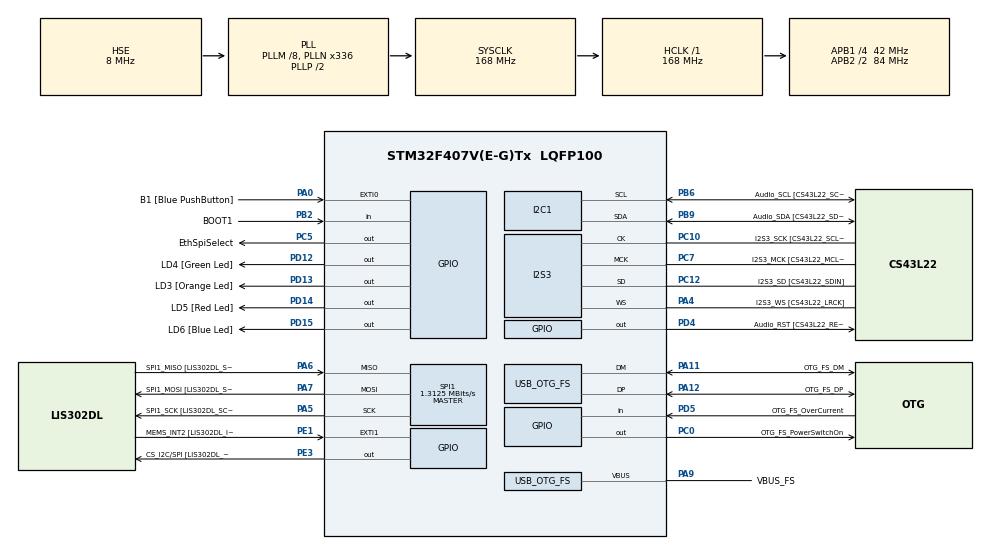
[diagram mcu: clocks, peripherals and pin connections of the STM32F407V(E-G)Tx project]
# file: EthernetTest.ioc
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I2S3.AudioFreq-Half_Duplex_Master=I2S_AUDIOFREQ_96K
I2S3.ErrorAudioFreq=-2.34 %
I2S3.ErrorAudioFreq-Half_Duplex_Master=0.8 %
I2S3.FullDuplexMode=I2S_FULLDUPLEXMODE_DISABLE
I2S3.Instance=SPI$Index
I2S3.RealAudioFreq=93.75 KHz
I2S3.RealAudioFreq-Half_Duplex_Master=96.774 KHz
I2S3.VirtualMode=I2S_MODE_MASTER
Mcu.Family=STM32F4
Mcu.Name=STM32F407V(E-G)Tx
Mcu.Package=LQFP100
NVIC.OTG_FS_IRQn=true\:0\:0\:false\:false\:true\:true\:true\:true
NVIC.PriorityGroup=NVIC_PRIORITYGROUP_0
PA0-WKUP.GPIO_Label=B1 [Blue PushButton]
PA0-WKUP.GPIO_ModeDefaultEXTI=GPIO_MODE_EVT_RISING
PA0-WKUP.GPIO_PuPd=GPIO_NOPULL
PA0-WKUP.Signal=GPXTI0
PA10.GPIO_Label=OTG_FS_ID
PA10.GPIO_Mode=GPIO_MODE_AF_PP
PA10.GPIO_PuPd=GPIO_NOPULL
PA10.GPIO_Speed=GPIO_SPEED_FREQ_LOW
PA10.Signal=USB_OTG_FS_ID
PA11.GPIO_Label=OTG_FS_DM
PA11.GPIO_Mode=GPIO_MODE_AF_PP
PA11.GPIO_PuPd=GPIO_NOPULL
PA11.GPIO_Speed=GPIO_SPEED_FREQ_LOW
PA11.Mode=Host_Only
PA11.Signal=USB_OTG_FS_DM
PA12.GPIO_Label=OTG_FS_DP
PA12.GPIO_Mode=GPIO_MODE_AF_PP
PA12.GPIO_PuPd=GPIO_NOPULL
PA12.GPIO_Speed=GPIO_SPEED_FREQ_LOW
PA12.Mode=Host_Only
PA12.Signal=USB_OTG_FS_DP
PA13.GPIO_Label=SWDIO
PA13.Mode=Serial_Wire
PA13.Signal=SYS_JTMS-SWDIO
PA14.GPIO_Label=SWCLK
PA14.Mode=Serial_Wire
PA14.Signal=SYS_JTCK-SWCLK
PA4.GPIO_Label=I2S3_WS [CS43L22_LRCK]
PA4.GPIO_Mode=GPIO_MODE_AF_PP
PA4.GPIO_PuPd=GPIO_NOPULL
PA4.GPIO_Speed=GPIO_SPEED_FREQ_LOW
PA4.Mode=Half_Duplex_Master
PA4.Signal=I2S3_WS
PA5.GPIO_Label=SPI1_SCK [LIS302DL_SCL/SPC]
PA5.GPIO_Mode=GPIO_MODE_AF_PP
PA5.GPIO_PuPd=GPIO_NOPULL
PA5.GPIO_Speed=GPIO_SPEED_FREQ_LOW
PA5.Mode=Full_Duplex_Master
PA5.Signal=SPI1_SCK
PA6.GPIO_Label=SPI1_MISO [LIS302DL_SDO]
PA6.GPIO_Mode=GPIO_MODE_AF_PP
PA6.GPIO_PuPd=GPIO_NOPULL
PA6.GPIO_Speed=GPIO_SPEED_FREQ_LOW
PA6.Mode=Full_Duplex_Master
PA6.Signal=SPI1_MISO
PA7.GPIO_Label=SPI1_MOSI [LIS302DL_SDA/SDI/SDO]
PA7.GPIO_Mode=GPIO_MODE_AF_PP
PA7.GPIO_PuPd=GPIO_NOPULL
PA7.GPIO_Speed=GPIO_SPEED_FREQ_LOW
PA7.Mode=Full_Duplex_Master
PA7.Signal=SPI1_MOSI
PA9.GPIO_Label=VBUS_FS
PA9.GPIO_Mode=GPIO_MODE_INPUT
PA9.GPIO_PuPd=GPIO_NOPULL
PA9.Mode=Activate_VBUS
PA9.Signal=USB_OTG_FS_VBUS
PB10.GPIO_Label=CLK_IN [MP45DT02_CLK]
PB10.GPIO_Mode=GPIO_MODE_AF_PP
PB10.GPIO_PuPd=GPIO_NOPULL
PB10.GPIO_Speed=GPIO_SPEED_FREQ_LOW
PB10.Signal=I2S2_CK
PB2.GPIO_Label=BOOT1
PB2.GPIO_Mode=GPIO_MODE_INPUT
PB2.GPIO_PuPd=GPIO_NOPULL
PB2.Signal=GPIO_Input
PB3.GPIO_Label=SWO
PB3.Signal=SYS_JTDO-SWO
PB6.GPIO_Label=Audio_SCL [CS43L22_SCL]
PB6.GPIO_Mode=GPIO_MODE_AF_OD
PB6.GPIO_Pu=GPIO_PULLUP
PB6.GPIO_PuPd=GPIO_NOPULL
PB6.GPIO_Speed=GPIO_SPEED_FREQ_LOW
PB6.Mode=I2C
PB6.Signal=I2C1_SCL
PB9.GPIO_Label=Audio_SDA [CS43L22_SDA]
PB9.GPIO_Mode=GPIO_MODE_AF_OD
PB9.GPIO_Pu=GPIO_PULLUP
PB9.GPIO_PuPd=GPIO_NOPULL
PB9.GPIO_Speed=GPIO_SPEED_FREQ_LOW
PB9.Mode=I2C
PB9.Signal=I2C1_SDA
PC0.GPIO_Label=OTG_FS_PowerSwitchOn
PC0.GPIO_PuPd=GPIO_NOPULL
PC0.GPIO_Speed=GPIO_SPEED_FREQ_LOW
PC0.PinState=GPIO_PIN_SET
PC0.Signal=GPIO_Output
PC10.GPIO_Label=I2S3_SCK [CS43L22_SCLK]
PC10.GPIO_Mode=GPIO_MODE_AF_PP
PC10.GPIO_PuPd=GPIO_NOPULL
PC10.GPIO_Speed=GPIO_SPEED_FREQ_LOW
PC10.Mode=Half_Duplex_Master
PC10.Signal=I2S3_CK
PC12.GPIO_Label=I2S3_SD [CS43L22_SDIN]
PC12.GPIO_Mode=GPIO_MODE_AF_PP
PC12.GPIO_PuPd=GPIO_NOPULL
PC12.GPIO_Speed=GPIO_SPEED_FREQ_LOW
PC12.Mode=Half_Duplex_Master
PC12.Signal=I2S3_SD
PC14-OSC32_IN.GPIO_Label=PC14-OSC32_IN
PC14-OSC32_IN.Mode=LSE-External-Oscillator
PC14-OSC32_IN.Signal=RCC_OSC32_IN
PC15-OSC32_OUT.GPIO_Label=PC15-OSC32_OUT
PC15-OSC32_OUT.Mode=LSE-External-Oscillator
PC15-OSC32_OUT.Signal=RCC_OSC32_OUT
PC3.GPIO_Label=PDM_OUT [MP45DT02_DOUT]
PC3.GPIO_Mode=GPIO_MODE_AF_PP
PC3.GPIO_PuPd=GPIO_NOPULL
PC3.GPIO_Speed=GPIO_SPEED_FREQ_LOW
PC3.Signal=I2S2_SD
PC5.GPIO_Label=EthSpiSelect
PC5.GPIO_PuPd=GPIO_PULLUP
PC5.GPIO_Speed=GPIO_SPEED_FREQ_MEDIUM
PC5.Signal=GPIO_Output
PC7.GPIO_Label=I2S3_MCK [CS43L22_MCLK]
PC7.GPIO_Mode=GPIO_MODE_AF_PP
PC7.GPIO_PuPd=GPIO_NOPULL
PC7.GPIO_Speed=GPIO_SPEED_FREQ_LOW
PC7.Mode=Master_Clock_Activated
PC7.Signal=I2S3_MCK
PD12.GPIO_Label=LD4 [Green Led]
PD12.GPIO_PuPd=GPIO_NOPULL
PD12.GPIO_Speed=GPIO_SPEED_FREQ_LOW
PD12.Signal=GPIO_Output
PD13.GPIO_Label=LD3 [Orange Led]
PD13.GPIO_PuPd=GPIO_NOPULL
PD13.GPIO_Speed=GPIO_SPEED_FREQ_LOW
PD13.Signal=GPIO_Output
PD14.GPIO_Label=LD5 [Red Led]
PD14.GPIO_PuPd=GPIO_NOPULL
PD14.GPIO_Speed=GPIO_SPEED_FREQ_LOW
PD14.Signal=GPIO_Output
PD15.GPIO_Label=LD6 [Blue Led]
PD15.GPIO_PuPd=GPIO_NOPULL
PD15.GPIO_Speed=GPIO_SPEED_FREQ_LOW
PD15.Signal=GPIO_Output
PD4.GPIO_Label=Audio_RST [CS43L22_RESET]
PD4.GPIO_PuPd=GPIO_NOPULL
PD4.GPIO_Speed=GPIO_SPEED_FREQ_LOW
PD4.Signal=GPIO_Output
PD5.GPIO_Label=OTG_FS_OverCurrent
PD5.GPIO_Mode=GPIO_MODE_INPUT
PD5.GPIO_PuPd=GPIO_NOPULL
PD5.Signal=GPIO_Input
PE1.GPIO_Label=MEMS_INT2 [LIS302DL_INT2]
PE1.GPIO_ModeDefaultEXTI=GPIO_MODE_EVT_RISING
PE1.GPIO_PuPd=GPIO_NOPULL
PE1.Signal=GPXTI1
PE3.GPIO_Label=CS_I2C/SPI [LIS302DL_CS_I2C/SPI]
PE3.GPIO_PuPd=GPIO_NOPULL
PE3.GPIO_Speed=GPIO_SPEED_FREQ_LOW
PE3.Signal=GPIO_Output
PH0-OSC_IN.GPIO_Label=PH0-OSC_IN
PH0-OSC_IN.Mode=HSE-External-Oscillator
PH0-OSC_IN.Signal=RCC_OSC_IN
PH1-OSC_OUT.GPIO_Label=PH1-OSC_OUT
PH1-OSC_OUT.Mode=HSE-External-Oscillator
PH1-OSC_OUT.Signal=RCC_OSC_OUT
ProjectManager.HeapSize=0x200
ProjectManager.StackSize=0x400
ProjectManager.TargetToolchain=STM32CubeIDE
RCC.48MHZClocksFreq_Value=48000000
RCC.AHBFreq_Value=168000000
RCC.APB1CLKDivider=RCC_HCLK_DIV4
RCC.APB1Freq_Value=42000000
RCC.APB1TimFreq_Value=84000000
RCC.APB2CLKDivider=RCC_HCLK_DIV2
RCC.APB2Freq_Value=84000000
RCC.APB2TimFreq_Value=168000000
RCC.CortexFreq_Value=168000000
RCC.HCLKFreq_Value=168000000
RCC.HSE_VALUE=8000000
RCC.HSI_VALUE=16000000
RCC.PLLM=8
RCC.PLLN=336
RCC.PLLQ=7
RCC.SYSCLKFreq_VALUE=168000000
RCC.SYSCLKSource=RCC_SYSCLKSOURCE_PLLCLK
RCC.VCOOutputFreq_Value=336000000
SPI1.BaudRatePrescaler=SPI_BAUDRATEPRESCALER_64
SPI1.BaudRatePrescaler-Full_Duplex_Master=SPI_BAUDRATEPRESCALER_2
SPI1.CalculateBaudRate=1.3125 MBits/s
SPI1.CalculateBaudRate-Full_Duplex_Master=42.0 MBits/s
SPI1.Direction=SPI_DIRECTION_2LINES
SPI1.Mode=SPI_MODE_MASTER
SPI1.Mode-Full_Duplex_Master=SPI_MODE_MASTER
SPI1.VirtualType=VM_MASTER
USB_HOST.BSP.number=1
USB_HOST.USBH_HandleTypeDef-CDC_FS=hUsbHostFS
USB_HOST.VirtualModeFS=Cdc
USB_HOST0.BSP.STBoard=false
USB_HOST0.BSP.api=Unknown
USB_HOST0.BSP.instance=PC0
USB_HOST0.BSP.ip=GPIO
USB_HOST0.BSP.mode=Output
USB_HOST0.BSP.name=Drive_VBUS_FS
USB_HOST0.BSP.solution=PC0
USB_OTG_FS.VirtualMode=Host_Only
USB_OTG_FS.phy_itface=HCD_PHY_EMBEDDED
VP_USB_HOST_VS_USB_HOST_CDC_FS.Mode=CDC_FS
board=STM32F407G-DISC1

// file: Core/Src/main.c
/* USER CODE BEGIN Header */
/**
  ******************************************************************************
  * @file           : main.c
  * @brief          : Main program body
  ******************************************************************************
  * @attention
  *
  * Copyright (c) 2023 STMicroelectronics.
  * All rights reserved.
  *
  * This software is licensed under terms that can be found in the LICENSE file
  * in the root directory of this software component.
  * If no LICENSE file comes with this software, it is provided AS-IS.
  *
  ******************************************************************************
  */
/* USER CODE END Header */
#include "main.h"
#include "usb_host.h"

/* USER CODE BEGIN Includes */

#include "wizchip_conf.h"
#include "loopback.h"
#include <stdio.h>

/* USER CODE END Includes */

I2C_HandleTypeDef hi2c1;

I2S_HandleTypeDef hi2s3;

SPI_HandleTypeDef hspi1;

void SystemClock_Config(void);
static void MX_GPIO_Init(void);
static void MX_I2C1_Init(void);
static void MX_I2S3_Init(void);
static void MX_SPI1_Init(void);
void MX_USB_HOST_Process(void);

/* USER CODE BEGIN 0 */

/////////////////////////////////////////
// SOCKET NUMBER DEFINION for Examples //
/////////////////////////////////////////
#define SOCK_TCPS        0
#define SOCK_UDPS        1

////////////////////////////////////////////////
// Shared Buffer Definition for LOOPBACK TEST //
////////////////////////////////////////////////
#define DATA_BUF_SIZE   2048
uint8_t gDATABUF[DATA_BUF_SIZE];

///////////////////////////
// Network Configuration //
///////////////////////////
wiz_NetInfo gWIZNETINFO = { .mac = {0x00, 0x08, 0xdc,0x00, 0xab, 0xcd},
                            .ip = {192, 168, 1, 123},
                            .sn = {255,255,255,0},
                            .gw = {192, 168, 1, 1},
                            .dns = {0,0,0,0},
                            .dhcp = NETINFO_STATIC };

//////////////////////////////////////////////////////////////////////////////////////////////
// Call back function for W5500 SPI - Theses used to parameter or reg_wizchip_xxx_cbfunc()  //
//////////////////////////////////////////////////////////////////////////////////////////////
void  wizchip_select(void);
void  wizchip_deselect(void);
void  wizchip_write(uint8_t wb);
uint8_t wizchip_read();

void network_init(void);

void network_init(void)
{
   uint8_t tmpstr[6];
	ctlnetwork(CN_SET_NETINFO, (void*)&gWIZNETINFO);
	ctlnetwork(CN_GET_NETINFO, (void*)&gWIZNETINFO);

	// Display Network Information
	ctlwizchip(CW_GET_ID,(void*)tmpstr);
	printf("\r\n=== %s NET CONF ===\r\n",(char*)tmpstr);
	printf("MAC: %02X:%02X:%02X:%02X:%02X:%02X\r\n",gWIZNETINFO.mac[0],gWIZNETINFO.mac[1],gWIZNETINFO.mac[2],
		  gWIZNETINFO.mac[3],gWIZNETINFO.mac[4],gWIZNETINFO.mac[5]);
	printf("SIP: %d.%d.%d.%d\r\n", gWIZNETINFO.ip[0],gWIZNETINFO.ip[1],gWIZNETINFO.ip[2],gWIZNETINFO.ip[3]);
	printf("GAR: %d.%d.%d.%d\r\n", gWIZNETINFO.gw[0],gWIZNETINFO.gw[1],gWIZNETINFO.gw[2],gWIZNETINFO.gw[3]);
	printf("SUB: %d.%d.%d.%d\r\n", gWIZNETINFO.sn[0],gWIZNETINFO.sn[1],gWIZNETINFO.sn[2],gWIZNETINFO.sn[3]);
	printf("DNS: %d.%d.%d.%d\r\n", gWIZNETINFO.dns[0],gWIZNETINFO.dns[1],gWIZNETINFO.dns[2],gWIZNETINFO.dns[3]);
	printf("======================\r\n");
}

void  wizchip_select(void)
{
	//USING PIN PC5 for select!
	HAL_GPIO_WritePin(EthSpiSelect_GPIO_Port, EthSpiSelect_Pin, GPIO_PIN_RESET);
}

void  wizchip_deselect(void)
{
	HAL_GPIO_WritePin(EthSpiSelect_GPIO_Port, EthSpiSelect_Pin, GPIO_PIN_SET);
}

void  wizchip_write(uint8_t wb)
{
	HAL_SPI_Transmit(&hspi1, &wb, 1, 100); //100 = timeout
}

uint8_t wizchip_read()
{
	uint8_t data = 0;
	HAL_SPI_Receive(&hspi1, &data, 1, 100);
	return data;
}

/* USER CODE END 0 */

int main(void)
{

  /* MCU Configuration--------------------------------------------------------*/

  /* Reset of all peripherals, Initializes the Flash interface and the Systick. */
  HAL_Init();

  /* Configure the system clock */
  SystemClock_Config();

  /* Initialize all configured peripherals */
  MX_GPIO_Init();
  MX_I2C1_Init();
  MX_I2S3_Init();
  MX_SPI1_Init();
  MX_USB_HOST_Init();
  /* USER CODE BEGIN 2 */

  uint8_t memsize[2][8] = { {2,2,2,2,2,2,2,2},{2,2,2,2,2,2,2,2}};
  uint8_t tmp;
  int32_t ret = 0;

  // CS pin should default high
  wizchip_deselect();

  /////////////////////////////////////////////
	 // Register SPI callback function of W5500 //
	 /////////////////////////////////////////////

	 /* Critical section callback - No use in this example */
	 //reg_wizchip_cris_cbfunc(0, 0);

	 /* Chip selection call back */
	#if   _WIZCHIP_IO_MODE_ == _WIZCHIP_IO_MODE_SPI_VDM_
	  reg_wizchip_cs_cbfunc(wizchip_select, wizchip_deselect);
	#elif _WIZCHIP_IO_MODE_ == _WIZCHIP_IO_MODE_SPI_FDM_
	  reg_wizchip_cs_cbfunc(wizchip_select, wizchip_select);  // CS must be tried with LOW.
	#else
	 #if (_WIZCHIP_IO_MODE_ & _WIZCHIP_IO_MODE_SIP_) != _WIZCHIP_IO_MODE_SIP_
		#error "Unknown _WIZCHIP_IO_MODE_"
	 #else
		reg_wizchip_cs_cbfunc(wizchip_select, wizchip_deselect);
	 #endif
	#endif
	  /* SPI Read & Write callback function */
	  reg_wizchip_spi_cbfunc(wizchip_read, wizchip_write);
	  /////////////////////////////////////////////

	  /* wizchip initialize*/
	  if(ctlwizchip(CW_INIT_WIZCHIP,(void*)memsize) == -1)
	  {
		 printf("WIZCHIP Initialized fail.\r\n");
		 while(1);
	  }

	  /* PHY link status check */
	  do
	  {
		 if(ctlwizchip(CW_GET_PHYLINK, (void*)&tmp) == -1)
			printf("Unknown PHY Link stauts.\r\n");
	  }while(tmp == PHY_LINK_OFF);

	  /* Network initialization */
	  network_init();

  /* USER CODE END 2 */

  /* Infinite loop */
  while (1)
  {
    MX_USB_HOST_Process();

    /* USER CODE BEGIN 3 */
    /* Loopback Test */
	// TCP server loopback test
	if( (ret = loopback_tcps(SOCK_TCPS, gDATABUF, 5000)) < 0) {
		printf("SOCKET ERROR : %ld\r\n", ret);
	}

	// UDP server loopback test
	if( (ret = loopback_udps(SOCK_UDPS, gDATABUF, 3000)) < 0) {
		printf("SOCKET ERROR : %ld\r\n", ret);
	}
  }
  /* USER CODE END 3 */
}

void SystemClock_Config(void)
{
  RCC_OscInitTypeDef RCC_OscInitStruct = {0};
  RCC_ClkInitTypeDef RCC_ClkInitStruct = {0};

  /** Configure the main internal regulator output voltage
  */
  __HAL_RCC_PWR_CLK_ENABLE();
  __HAL_PWR_VOLTAGESCALING_CONFIG(PWR_REGULATOR_VOLTAGE_SCALE1);

  /** Initializes the RCC Oscillators according to the specified parameters
  * in the RCC_OscInitTypeDef structure.
  */
  RCC_OscInitStruct.OscillatorType = RCC_OSCILLATORTYPE_HSE;
  RCC_OscInitStruct.HSEState = RCC_HSE_ON;
  RCC_OscInitStruct.PLL.PLLState = RCC_PLL_ON;
  RCC_OscInitStruct.PLL.PLLSource = RCC_PLLSOURCE_HSE;
  RCC_OscInitStruct.PLL.PLLM = 8;
  RCC_OscInitStruct.PLL.PLLN = 336;
  RCC_OscInitStruct.PLL.PLLP = RCC_PLLP_DIV2;
  RCC_OscInitStruct.PLL.PLLQ = 7;
  if (HAL_RCC_OscConfig(&RCC_OscInitStruct) != HAL_OK)
  {
    Error_Handler();
  }

  /** Initializes the CPU, AHB and APB buses clocks
  */
  RCC_ClkInitStruct.ClockType = RCC_CLOCKTYPE_HCLK|RCC_CLOCKTYPE_SYSCLK
                              |RCC_CLOCKTYPE_PCLK1|RCC_CLOCKTYPE_PCLK2;
  RCC_ClkInitStruct.SYSCLKSource = RCC_SYSCLKSOURCE_PLLCLK;
  RCC_ClkInitStruct.AHBCLKDivider = RCC_SYSCLK_DIV1;
  RCC_ClkInitStruct.APB1CLKDivider = RCC_HCLK_DIV4;
  RCC_ClkInitStruct.APB2CLKDivider = RCC_HCLK_DIV2;

  if (HAL_RCC_ClockConfig(&RCC_ClkInitStruct, FLASH_LATENCY_5) != HAL_OK)
  {
    Error_Handler();
  }
}

static void MX_I2C1_Init(void)
{

  hi2c1.Instance = I2C1;
  hi2c1.Init.ClockSpeed = 100000;
  hi2c1.Init.DutyCycle = I2C_DUTYCYCLE_2;
  hi2c1.Init.OwnAddress1 = 0;
  hi2c1.Init.AddressingMode = I2C_ADDRESSINGMODE_7BIT;
  hi2c1.Init.DualAddressMode = I2C_DUALADDRESS_DISABLE;
  hi2c1.Init.OwnAddress2 = 0;
  hi2c1.Init.GeneralCallMode = I2C_GENERALCALL_DISABLE;
  hi2c1.Init.NoStretchMode = I2C_NOSTRETCH_DISABLE;
  if (HAL_I2C_Init(&hi2c1) != HAL_OK)
  {
    Error_Handler();
  }

}

static void MX_I2S3_Init(void)
{

  hi2s3.Instance = SPI3;
  hi2s3.Init.Mode = I2S_MODE_MASTER_TX;
  hi2s3.Init.Standard = I2S_STANDARD_PHILIPS;
  hi2s3.Init.DataFormat = I2S_DATAFORMAT_16B;
  hi2s3.Init.MCLKOutput = I2S_MCLKOUTPUT_ENABLE;
  hi2s3.Init.AudioFreq = I2S_AUDIOFREQ_96K;
  hi2s3.Init.CPOL = I2S_CPOL_LOW;
  hi2s3.Init.ClockSource = I2S_CLOCK_PLL;
  hi2s3.Init.FullDuplexMode = I2S_FULLDUPLEXMODE_DISABLE;
  if (HAL_I2S_Init(&hi2s3) != HAL_OK)
  {
    Error_Handler();
  }

}

static void MX_SPI1_Init(void)
{

  /* SPI1 parameter configuration*/
  hspi1.Instance = SPI1;
  hspi1.Init.Mode = SPI_MODE_MASTER;
  hspi1.Init.Direction = SPI_DIRECTION_2LINES;
  hspi1.Init.DataSize = SPI_DATASIZE_8BIT;
  hspi1.Init.CLKPolarity = SPI_POLARITY_LOW;
  hspi1.Init.CLKPhase = SPI_PHASE_1EDGE;
  hspi1.Init.NSS = SPI_NSS_SOFT;
  hspi1.Init.BaudRatePrescaler = SPI_BAUDRATEPRESCALER_64;
  hspi1.Init.FirstBit = SPI_FIRSTBIT_MSB;
  hspi1.Init.TIMode = SPI_TIMODE_DISABLE;
  hspi1.Init.CRCCalculation = SPI_CRCCALCULATION_DISABLE;
  hspi1.Init.CRCPolynomial = 10;
  if (HAL_SPI_Init(&hspi1) != HAL_OK)
  {
    Error_Handler();
  }

}

static void MX_GPIO_Init(void)
{
  GPIO_InitTypeDef GPIO_InitStruct = {0};

  /* GPIO Ports Clock Enable */
  __HAL_RCC_GPIOE_CLK_ENABLE();
  __HAL_RCC_GPIOC_CLK_ENABLE();
  __HAL_RCC_GPIOH_CLK_ENABLE();
  __HAL_RCC_GPIOA_CLK_ENABLE();
  __HAL_RCC_GPIOB_CLK_ENABLE();
  __HAL_RCC_GPIOD_CLK_ENABLE();

  /*Configure GPIO pin Output Level */
  HAL_GPIO_WritePin(CS_I2C_SPI_GPIO_Port, CS_I2C_SPI_Pin, GPIO_PIN_RESET);

  /*Configure GPIO pin Output Level */
  HAL_GPIO_WritePin(OTG_FS_PowerSwitchOn_GPIO_Port, OTG_FS_PowerSwitchOn_Pin, GPIO_PIN_SET);

  /*Configure GPIO pin Output Level */
  HAL_GPIO_WritePin(EthSpiSelect_GPIO_Port, EthSpiSelect_Pin, GPIO_PIN_RESET);

  /*Configure GPIO pin Output Level */
  HAL_GPIO_WritePin(GPIOD, LD4_Pin|LD3_Pin|LD5_Pin|LD6_Pin
                          |Audio_RST_Pin, GPIO_PIN_RESET);

  /*Configure GPIO pin : CS_I2C_SPI_Pin */
  GPIO_InitStruct.Pin = CS_I2C_SPI_Pin;
  GPIO_InitStruct.Mode = GPIO_MODE_OUTPUT_PP;
  GPIO_InitStruct.Pull = GPIO_NOPULL;
  GPIO_InitStruct.Speed = GPIO_SPEED_FREQ_LOW;
  HAL_GPIO_Init(CS_I2C_SPI_GPIO_Port, &GPIO_InitStruct);

  /*Configure GPIO pin : OTG_FS_PowerSwitchOn_Pin */
  GPIO_InitStruct.Pin = OTG_FS_PowerSwitchOn_Pin;
  GPIO_InitStruct.Mode = GPIO_MODE_OUTPUT_PP;
  GPIO_InitStruct.Pull = GPIO_NOPULL;
  GPIO_InitStruct.Speed = GPIO_SPEED_FREQ_LOW;
  HAL_GPIO_Init(OTG_FS_PowerSwitchOn_GPIO_Port, &GPIO_InitStruct);

  /*Configure GPIO pin : PDM_OUT_Pin */
  GPIO_InitStruct.Pin = PDM_OUT_Pin;
  GPIO_InitStruct.Mode = GPIO_MODE_AF_PP;
  GPIO_InitStruct.Pull = GPIO_NOPULL;
  GPIO_InitStruct.Speed = GPIO_SPEED_FREQ_LOW;
  GPIO_InitStruct.Alternate = GPIO_AF5_SPI2;
  HAL_GPIO_Init(PDM_OUT_GPIO_Port, &GPIO_InitStruct);

  /*Configure GPIO pin : B1_Pin */
  GPIO_InitStruct.Pin = B1_Pin;
  GPIO_InitStruct.Mode = GPIO_MODE_EVT_RISING;
  GPIO_InitStruct.Pull = GPIO_NOPULL;
  HAL_GPIO_Init(B1_GPIO_Port, &GPIO_InitStruct);

  /*Configure GPIO pin : EthSpiSelect_Pin */
  GPIO_InitStruct.Pin = EthSpiSelect_Pin;
  GPIO_InitStruct.Mode = GPIO_MODE_OUTPUT_PP;
  GPIO_InitStruct.Pull = GPIO_PULLUP;
  GPIO_InitStruct.Speed = GPIO_SPEED_FREQ_MEDIUM;
  HAL_GPIO_Init(EthSpiSelect_GPIO_Port, &GPIO_InitStruct);

  /*Configure GPIO pin : BOOT1_Pin */
  GPIO_InitStruct.Pin = BOOT1_Pin;
  GPIO_InitStruct.Mode = GPIO_MODE_INPUT;
  GPIO_InitStruct.Pull = GPIO_NOPULL;
  HAL_GPIO_Init(BOOT1_GPIO_Port, &GPIO_InitStruct);

  /*Configure GPIO pin : CLK_IN_Pin */
  GPIO_InitStruct.Pin = CLK_IN_Pin;
  GPIO_InitStruct.Mode = GPIO_MODE_AF_PP;
  GPIO_InitStruct.Pull = GPIO_NOPULL;
  GPIO_InitStruct.Speed = GPIO_SPEED_FREQ_LOW;
  GPIO_InitStruct.Alternate = GPIO_AF5_SPI2;
  HAL_GPIO_Init(CLK_IN_GPIO_Port, &GPIO_InitStruct);

  /*Configure GPIO pins : LD4_Pin LD3_Pin LD5_Pin LD6_Pin
                           Audio_RST_Pin */
  GPIO_InitStruct.Pin = LD4_Pin|LD3_Pin|LD5_Pin|LD6_Pin
                          |Audio_RST_Pin;
  GPIO_InitStruct.Mode = GPIO_MODE_OUTPUT_PP;
  GPIO_InitStruct.Pull = GPIO_NOPULL;
  GPIO_InitStruct.Speed = GPIO_SPEED_FREQ_LOW;
  HAL_GPIO_Init(GPIOD, &GPIO_InitStruct);

  /*Configure GPIO pin : OTG_FS_OverCurrent_Pin */
  GPIO_InitStruct.Pin = OTG_FS_OverCurrent_Pin;
  GPIO_InitStruct.Mode = GPIO_MODE_INPUT;
  GPIO_InitStruct.Pull = GPIO_NOPULL;
  HAL_GPIO_Init(OTG_FS_OverCurrent_GPIO_Port, &GPIO_InitStruct);

  /*Configure GPIO pin : MEMS_INT2_Pin */
  GPIO_InitStruct.Pin = MEMS_INT2_Pin;
  GPIO_InitStruct.Mode = GPIO_MODE_EVT_RISING;
  GPIO_InitStruct.Pull = GPIO_NOPULL;
  HAL_GPIO_Init(MEMS_INT2_GPIO_Port, &GPIO_InitStruct);

}

void Error_Handler(void)
{
  __disable_irq();
  while (1)
  {
  }
}
